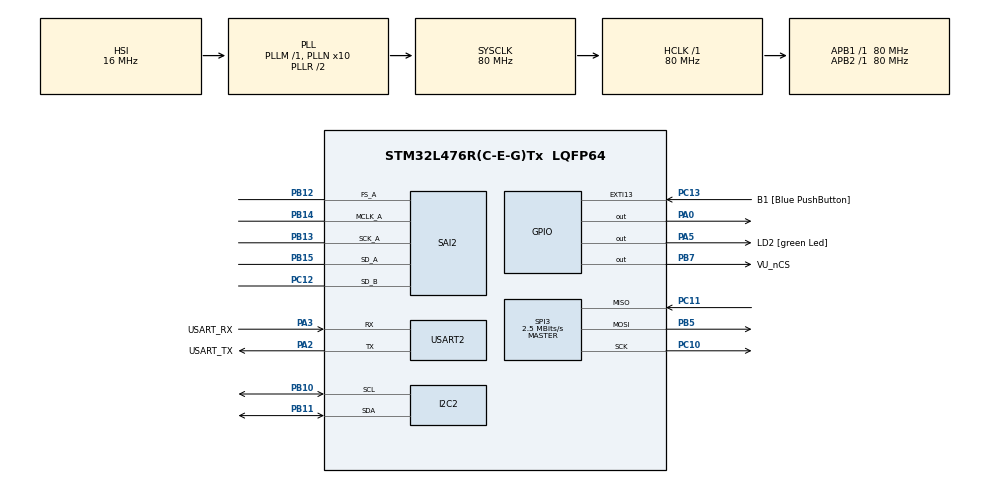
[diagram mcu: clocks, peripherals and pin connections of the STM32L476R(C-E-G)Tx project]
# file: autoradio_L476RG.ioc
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Dma.Request0=SAI2_A
Dma.Request1=SAI2_B
Dma.SAI2_A.0.Direction=DMA_MEMORY_TO_PERIPH
Dma.SAI2_A.0.Instance=DMA1_Channel6
Dma.SAI2_A.0.MemDataAlignment=DMA_MDATAALIGN_HALFWORD
Dma.SAI2_A.0.MemInc=DMA_MINC_ENABLE
Dma.SAI2_A.0.Mode=DMA_CIRCULAR
Dma.SAI2_A.0.PeriphDataAlignment=DMA_PDATAALIGN_HALFWORD
Dma.SAI2_A.0.PeriphInc=DMA_PINC_DISABLE
Dma.SAI2_A.0.Priority=DMA_PRIORITY_LOW
Dma.SAI2_B.1.Direction=DMA_PERIPH_TO_MEMORY
Dma.SAI2_B.1.Instance=DMA1_Channel7
Dma.SAI2_B.1.MemDataAlignment=DMA_MDATAALIGN_HALFWORD
Dma.SAI2_B.1.MemInc=DMA_MINC_ENABLE
Dma.SAI2_B.1.Mode=DMA_CIRCULAR
Dma.SAI2_B.1.PeriphDataAlignment=DMA_PDATAALIGN_HALFWORD
Dma.SAI2_B.1.PeriphInc=DMA_PINC_DISABLE
Dma.SAI2_B.1.Priority=DMA_PRIORITY_LOW
FREERTOS.Tasks01=defaultTask,0,128,StartDefaultTask,Default,NULL,Dynamic,NULL,NULL
FREERTOS.configUSE_NEWLIB_REENTRANT=1
I2C2.Timing=0x10D19CE4
Mcu.Family=STM32L4
Mcu.Name=STM32L476R(C-E-G)Tx
Mcu.Package=LQFP64
NVIC.DMA1_Channel6_IRQn=true\:5\:0\:false\:false\:true\:true\:false\:true\:true
NVIC.DMA1_Channel7_IRQn=true\:5\:0\:false\:false\:true\:true\:false\:true\:true
NVIC.I2C2_EV_IRQn=true\:5\:0\:false\:false\:true\:true\:true\:true\:true
NVIC.PriorityGroup=NVIC_PRIORITYGROUP_4
NVIC.SAI2_IRQn=true\:5\:0\:false\:false\:true\:true\:true\:true\:true
NVIC.USART2_IRQn=true\:5\:0\:false\:false\:true\:true\:true\:true\:true
PA0.Signal=GPIO_Output
PA13\ (JTMS-SWDIO).GPIO_Label=TMS
PA13\ (JTMS-SWDIO).Mode=Serial_Wire
PA13\ (JTMS-SWDIO).Signal=SYS_JTMS-SWDIO
PA14\ (JTCK-SWCLK).GPIO_Label=TCK
PA14\ (JTCK-SWCLK).Mode=Serial_Wire
PA14\ (JTCK-SWCLK).Signal=SYS_JTCK-SWCLK
PA2.GPIO_Label=USART_TX
PA2.GPIO_Mode=GPIO_MODE_AF_PP
PA2.GPIO_PuPd=GPIO_NOPULL
PA2.GPIO_Speed=GPIO_SPEED_FREQ_VERY_HIGH
PA2.Mode=Asynchronous
PA2.Signal=USART2_TX
PA3.GPIO_Label=USART_RX
PA3.GPIO_Mode=GPIO_MODE_AF_PP
PA3.GPIO_PuPd=GPIO_NOPULL
PA3.GPIO_Speed=GPIO_SPEED_FREQ_VERY_HIGH
PA3.Mode=Asynchronous
PA3.Signal=USART2_RX
PA5.GPIO_Label=LD2 [green Led]
PA5.GPIO_ModeDefaultOutputPP=GPIO_MODE_OUTPUT_PP
PA5.GPIO_PuPd=GPIO_NOPULL
PA5.GPIO_Speed=GPIO_SPEED_FREQ_LOW
PA5.Signal=GPIO_Output
PB10.Mode=I2C
PB10.Signal=I2C2_SCL
PB11.Mode=I2C
PB11.Signal=I2C2_SDA
PB12.Mode=SAI_A_MasterWithClock
PB12.Signal=SAI2_FS_A
PB13.Mode=SAI_A_MasterWithClock
PB13.Signal=SAI2_SCK_A
PB14.Mode=SAI_A_MasterWithClock
PB14.Signal=SAI2_MCLK_A
PB15.Mode=SAI_A_MasterWithClock
PB15.Signal=SAI2_SD_A
PB3\ (JTDO-TRACESWO).GPIO_Label=SWO
PB3\ (JTDO-TRACESWO).Signal=SYS_JTDO-SWO
PB5.Mode=Full_Duplex_Master
PB5.Signal=SPI3_MOSI
PB7.GPIO_Label=VU_nCS
PB7.Signal=GPIO_Output
PC10.Mode=Full_Duplex_Master
PC10.Signal=SPI3_SCK
PC11.Mode=Full_Duplex_Master
PC11.Signal=SPI3_MISO
PC12.Mode=SAI_B_SyncSlave
PC12.Signal=SAI2_SD_B
PC13.GPIO_Label=B1 [Blue PushButton]
PC13.GPIO_ModeDefaultEXTI=GPIO_MODE_IT_FALLING
PC13.GPIO_PuPd=GPIO_NOPULL
PC13.Signal=GPXTI13
PC14-OSC32_IN\ (PC14).Mode=LSE-External-Oscillator
PC14-OSC32_IN\ (PC14).Signal=RCC_OSC32_IN
PC15-OSC32_OUT\ (PC15).Mode=LSE-External-Oscillator
PC15-OSC32_OUT\ (PC15).Signal=RCC_OSC32_OUT
PH0-OSC_IN\ (PH0).Signal=RCC_OSC_IN
PH1-OSC_OUT\ (PH1).Signal=RCC_OSC_OUT
ProjectManager.HeapSize=0x200
ProjectManager.StackSize=0x400
ProjectManager.TargetToolchain=STM32CubeIDE
RCC.ADCFreq_Value=104000000
RCC.AHBFreq_Value=80000000
RCC.APB1Freq_Value=80000000
RCC.APB1TimFreq_Value=80000000
RCC.APB2Freq_Value=80000000
RCC.APB2TimFreq_Value=80000000
RCC.CortexFreq_Value=80000000
RCC.HCLKFreq_Value=80000000
RCC.HSE_VALUE=8000000
RCC.HSI_VALUE=16000000
RCC.MSI_VALUE=4000000
RCC.PLLN=10
RCC.PLLSAI1N=13
RCC.PLLSAI1P=RCC_PLLP_DIV17
RCC.PLLSourceVirtual=RCC_PLLSOURCE_HSI
RCC.PREFETCH_ENABLE=1
RCC.SYSCLKFreq_VALUE=80000000
RCC.SYSCLKSource=RCC_SYSCLKSOURCE_PLLCLK
RCC.USBFreq_Value=104000000
RCC.VCOOutputFreq_Value=160000000
SAI2.AudioFrequency-SAI_A_MasterWithClock=SAI_AUDIO_FREQUENCY_48K
SAI2.ErrorAudioFreq-SAI_A_MasterWithClock=-0.42 %
SAI2.InitProtocol-SAI_A_MasterWithClock=Enable
SAI2.InitProtocol-SAI_B_SyncSlave=Enable
SAI2.Instance-SAI_A_MasterWithClock=SAI$Index_Block_A
SAI2.Instance-SAI_B_SyncSlave=SAI$Index_Block_B
SAI2.MClockEnable-SAI_A_MasterWithClock=SAI_MASTERCLOCK_ENABLE
SAI2.RealAudioFreq-SAI_A_MasterWithClock=47.794 KHz
SAI2.VirtualMode-SAI_A_MasterWithClock=VM_MASTER
SAI2.VirtualMode-SAI_B_SyncSlave=VM_SLAVE
SAI2.VirtualProtocol-SAI_A_BASIC=VM_BASIC_PROTOCOL
SAI2.VirtualProtocol-SAI_B_BASIC=VM_BASIC_PROTOCOL
SPI3.BaudRatePrescaler=SPI_BAUDRATEPRESCALER_32
SPI3.CalculateBaudRate=2.5 MBits/s
SPI3.DataSize=SPI_DATASIZE_8BIT
SPI3.Direction=SPI_DIRECTION_2LINES
SPI3.Mode=SPI_MODE_MASTER
SPI3.VirtualType=VM_MASTER
USART2.VirtualMode-Asynchronous=VM_ASYNC
VP_FREERTOS_VS_CMSIS_V1.Mode=CMSIS_V1
VP_SAI2_VP_$IpInstance_SAIA_SAI_BASIC.Mode=SAI_A_BASIC
VP_SAI2_VP_$IpInstance_SAIB_SAI_BASIC.Mode=SAI_B_BASIC
board=NUCLEO-L476RG

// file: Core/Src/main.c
/* USER CODE BEGIN Header */
/**
 ******************************************************************************
 * @file           : main.c
 * @brief          : Main program body
 ******************************************************************************
 * @attention
 *
 * Copyright (c) 2025 STMicroelectronics.
 * All rights reserved.
 *
 * This software is licensed under terms that can be found in the LICENSE file
 * in the root directory of this software component.
 * If no LICENSE file comes with this software, it is provided AS-IS.
 *
 ******************************************************************************
 */
/* USER CODE END Header */
#include "main.h"
#include "cmsis_os.h"
#include "dma.h"
#include "i2c.h"
#include "sai.h"
#include "spi.h"
#include "usart.h"
#include "gpio.h"

/* USER CODE BEGIN Includes */
#include <stdio.h>
#include <stdlib.h>
#include "shell.h"
#include "led.h"
#include <string.h>
#include "chip_id.h"
#include "sgtl5000.h"
#include "RCFilter.h"
/* USER CODE END Includes */

/* USER CODE BEGIN PD */
#define QUEUE_LENGTH 5
#define QUEUE_ITEM_SIZE sizeof(uint32_t)
#define MAX_LEDS 16  // 8 LEDs sur port A + 8 LEDs sur port B
/* USER CODE END PD */

/* USER CODE BEGIN PV */
QueueHandle_t counterQueue;

#define AUDIO_BUFFER_SIZE 2048
uint8_t tx_buffer[AUDIO_BUFFER_SIZE]; // Buffer d'émission (vers DAC/Codec)
uint8_t rx_buffer[AUDIO_BUFFER_SIZE]; // Buffer de réception (depuis ADC/Micro)

#define DELAY_BUF_SIZE 20000
int16_t delay_buffer[DELAY_BUF_SIZE];
uint32_t delay_index=0;
h_RC_filter_t my_audio_filter;
/* USER CODE END PV */

void SystemClock_Config(void);
void PeriphCommonClock_Config(void);
void MX_FREERTOS_Init(void);
/* USER CODE BEGIN PFP */
static int fonction(h_shell_t *shell, int argc, char **argv);
static int addition(h_shell_t *shell, int argc, char **argv);
static int led_control(h_shell_t *shell, int argc, char **argv);
static int filtre_RC(h_shell_t *shell, int argc, char **argv);
void task_shell(void *unused);
/* USER CODE END PFP */

/* USER CODE BEGIN 0 */
int __io_putchar(int chr)
{
	HAL_UART_Transmit(&huart2, (uint8_t*)&chr, 1, HAL_MAX_DELAY);
	return chr;
}

static int fonction(h_shell_t *shell, int argc, char **argv)
{
	int size;
	size = snprintf(shell->print_buffer, BUFFER_SIZE, "Je suis une fonction bidon\r\n");
	shell_uart_write(shell->print_buffer, size);
	size = snprintf(shell->print_buffer, BUFFER_SIZE, "argc=%d\r\n", argc);
	shell_uart_write(shell->print_buffer, size);
	for (int i = 0; i < argc; i++)
	{
		size = snprintf(shell->print_buffer, BUFFER_SIZE, "argv[%d]=%s\r\n", i, argv[i]);
		shell_uart_write(shell->print_buffer, size);
	}
	return 0;
}

static int addition(h_shell_t *shell, int argc, char **argv)
{
	int sum = 0;
	for (int i = 1; i < argc; i++)
	{
		sum += atoi(argv[i]); // atoi conversion chaine de caractère en entier
	}
	int size = snprintf(shell->print_buffer, BUFFER_SIZE, "sum=%d\r\n", sum);
	shell_uart_write(shell->print_buffer, size);
	return 0;
}

static int filtre_RC(h_shell_t *shell, int argc, char **argv){
	if (argc < 2) {
		int size = snprintf(shell->print_buffer, BUFFER_SIZE, "Usage: c <freq_coupure>\r\n");
		shell_uart_write(shell->print_buffer, size);
		return -1;
	}

	int fc = atoi(argv[1]);

	RC_filter_init(&my_audio_filter, (uint16_t)fc, 48000);

	int size = snprintf(shell->print_buffer, BUFFER_SIZE, "Filtre mis a jour: Fc = %d Hz\r\n", fc);
	shell_uart_write(shell->print_buffer, size);
	return 0;
}
void task_shell(void *unused)
{
	static h_shell_t shell_instance; // Instance statique de la structure

	shell_init(&shell_instance);
	shell_add(&shell_instance, 'f', fonction, "Une fonction inutile");
	shell_add(&shell_instance, 'a', addition, "Ma super addition");
	shell_add(&shell_instance, 'l', led_control, "LED control: l <id> <0|1>");
	shell_add(&shell_instance, 'c', filtre_RC, "filtre_RC");

	shell_run(&shell_instance); // Contient une boucle infinie

	// Ne sera jamais atteint, mais pour la forme
	vTaskDelete(NULL);
}

void HAL_UART_RxCpltCallback(UART_HandleTypeDef *huart)
{
	if (huart == &huart2)
	{
		shell_uart_rx_callback();
	}
}

static int led_control(h_shell_t *shell, int argc, char **argv)
{
	int numero;
	int size;
	numero = atoi(argv[1]);
	if (argc==3)
	{
		if (numero > 8)
		{
			Select_LED('B', 16-numero,atoi(argv[2]));
		}
		else
		{
			int state = atoi(argv[2]);
			Select_LED('A', numero,atoi(argv[2]));
		}
		size = snprintf(shell->print_buffer,BUFFER_SIZE,"c'est fait chef");
	}
	else if (argc==4)
	{
		numero = atoi(argv[1]) * 10 + atoi(argv[2]);
		Select_LED('B', 16-numero,atoi(argv[3]));
		size = snprintf(shell->print_buffer,BUFFER_SIZE,"c'est fait chef");
	}
	else
	{
		size = snprintf(shell->print_buffer,BUFFER_SIZE,"Il y a pas assez de led");
	}
	drv_uart1_transmit(shell->print_buffer,size);
	return 0;
}

void Generate_Triangle_Wave(uint8_t *buffer, uint32_t sizeInBytes) {
	int16_t *pSample = (int16_t *)buffer;

	// 16 bits = 2 octets. Stereo = 2 canaux.
	// Donc 1 "Frame" audio (Gauche + Droite) = 4 octets.
	uint32_t totalFrames = sizeInBytes / 4;

	// On divise le buffer en deux phases : Montée et Descente
	uint32_t halfPeriod = totalFrames / 2;

	int16_t amplitude = 15000;
	float step = (float)(amplitude * 2) / (float)halfPeriod;
	float currentVal = -15000.0f;

	// Phase 1 : Montée
	for (uint32_t i = 0; i < halfPeriod; i++) {
		int16_t val = (int16_t)currentVal;

		pSample[i * 2]     = val; // Canal Gauche
		pSample[i * 2 + 1] = val; // Canal Droit (identique pour du mono centré)

		currentVal += step;
	}

	// Phase 2 : Descente
	currentVal = 15000.0f;
	for (uint32_t i = halfPeriod; i < totalFrames; i++) {
		int16_t val = (int16_t)currentVal;

		pSample[i * 2]     = val;
		pSample[i * 2 + 1] = val;

		currentVal -= step;
	}
}

/* USER CODE END 0 */

int main(void)
{

	/* MCU Configuration--------------------------------------------------------*/

	/* Reset of all peripherals, Initializes the Flash interface and the Systick. */
	HAL_Init();

	/* Configure the system clock */
	SystemClock_Config();

	/* Configure the peripherals common clocks */
	PeriphCommonClock_Config();

	/* Initialize all configured peripherals */
	MX_GPIO_Init();
	MX_DMA_Init();
	MX_USART2_UART_Init();
	MX_SPI3_Init();
	MX_I2C2_Init();
	MX_SAI2_Init();
	/* USER CODE BEGIN 2 */
	MCP23S17_Init();
	MCP23S17_SetAllPinsHigh();

	__HAL_SAI_ENABLE(&hsai_BlockA2); // pour horloge pour codec

	printf("Bonjour Antonio y Louis\r\n");

	Lire_CHIP_ID(); // le printf est dans la fonction

	// --- AJOUT : Initialisation du filtre par défaut ---
	// Fréquence de coupure 5kHz, Echantillonnage 48kHz
	RC_filter_init(&my_audio_filter, 5000, 48000);

	//Generate_Triangle_Wave(tx_buffer, AUDIO_BUFFER_SIZE);

	if (HAL_SAI_Transmit_DMA(&hsai_BlockA2, tx_buffer, AUDIO_BUFFER_SIZE/ 2) != HAL_OK)
	{
		printf("Erreur demarrage SAI TX DMA\r\n");
		Error_Handler();
	}

	if (HAL_SAI_Receive_DMA(&hsai_BlockB2, rx_buffer, AUDIO_BUFFER_SIZE/ 2) != HAL_OK)
	{
		printf("Erreur demarrage SAI RX DMA\r\n");
		Error_Handler();
	}

	// Création de la queue
	counterQueue = xQueueCreate(QUEUE_LENGTH, QUEUE_ITEM_SIZE);
	if (counterQueue == NULL) {
		Error_Handler();
	}

	// Création de la tâche shell
	if (xTaskCreate(task_shell, "Shell", 512, NULL, 1, NULL) != pdPASS)
	{
		printf("Error creating task Shell\r\n");
		Error_Handler();
	}

	/* USER CODE END 2 */

	/* Call init function for freertos objects (in cmsis_os2.c) */
	MX_FREERTOS_Init();

	/* Start scheduler */
	osKernelStart();

	/* We should never get here as control is now taken by the scheduler */

	/* Infinite loop */
	while (1)
	{

	}
}

void SystemClock_Config(void)
{
	RCC_OscInitTypeDef RCC_OscInitStruct = {0};
	RCC_ClkInitTypeDef RCC_ClkInitStruct = {0};

	/** Configure the main internal regulator output voltage
	 */
	if (HAL_PWREx_ControlVoltageScaling(PWR_REGULATOR_VOLTAGE_SCALE1) != HAL_OK)
	{
		Error_Handler();
	}

	/** Initializes the RCC Oscillators according to the specified parameters
	 * in the RCC_OscInitTypeDef structure.
	 */
	RCC_OscInitStruct.OscillatorType = RCC_OSCILLATORTYPE_HSI;
	RCC_OscInitStruct.HSIState = RCC_HSI_ON;
	RCC_OscInitStruct.HSICalibrationValue = RCC_HSICALIBRATION_DEFAULT;
	RCC_OscInitStruct.PLL.PLLState = RCC_PLL_ON;
	RCC_OscInitStruct.PLL.PLLSource = RCC_PLLSOURCE_HSI;
	RCC_OscInitStruct.PLL.PLLM = 1;
	RCC_OscInitStruct.PLL.PLLN = 10;
	RCC_OscInitStruct.PLL.PLLP = RCC_PLLP_DIV7;
	RCC_OscInitStruct.PLL.PLLQ = RCC_PLLQ_DIV2;
	RCC_OscInitStruct.PLL.PLLR = RCC_PLLR_DIV2;
	if (HAL_RCC_OscConfig(&RCC_OscInitStruct) != HAL_OK)
	{
		Error_Handler();
	}

	/** Initializes the CPU, AHB and APB buses clocks
	 */
	RCC_ClkInitStruct.ClockType = RCC_CLOCKTYPE_HCLK|RCC_CLOCKTYPE_SYSCLK
			|RCC_CLOCKTYPE_PCLK1|RCC_CLOCKTYPE_PCLK2;
	RCC_ClkInitStruct.SYSCLKSource = RCC_SYSCLKSOURCE_PLLCLK;
	RCC_ClkInitStruct.AHBCLKDivider = RCC_SYSCLK_DIV1;
	RCC_ClkInitStruct.APB1CLKDivider = RCC_HCLK_DIV1;
	RCC_ClkInitStruct.APB2CLKDivider = RCC_HCLK_DIV1;

	if (HAL_RCC_ClockConfig(&RCC_ClkInitStruct, FLASH_LATENCY_4) != HAL_OK)
	{
		Error_Handler();
	}
}

void PeriphCommonClock_Config(void)
{
	RCC_PeriphCLKInitTypeDef PeriphClkInit = {0};

	/** Initializes the peripherals clock
	 */
	PeriphClkInit.PeriphClockSelection = RCC_PERIPHCLK_SAI2;
	PeriphClkInit.Sai2ClockSelection = RCC_SAI2CLKSOURCE_PLLSAI1;
	PeriphClkInit.PLLSAI1.PLLSAI1Source = RCC_PLLSOURCE_HSI;
	PeriphClkInit.PLLSAI1.PLLSAI1M = 1;
	PeriphClkInit.PLLSAI1.PLLSAI1N = 13;
	PeriphClkInit.PLLSAI1.PLLSAI1P = RCC_PLLP_DIV17;
	PeriphClkInit.PLLSAI1.PLLSAI1Q = RCC_PLLQ_DIV2;
	PeriphClkInit.PLLSAI1.PLLSAI1R = RCC_PLLR_DIV2;
	PeriphClkInit.PLLSAI1.PLLSAI1ClockOut = RCC_PLLSAI1_SAI1CLK;
	if (HAL_RCCEx_PeriphCLKConfig(&PeriphClkInit) != HAL_OK)
	{
		Error_Handler();
	}
}

/* USER CODE BEGIN 4 */

// Process sans effet audio
//void Process_Audio_Buffer(uint8_t *src, uint8_t *dst, uint32_t len_in_bytes)
//{
//    uint16_t *pSrc = (uint16_t*)src;
//    uint16_t *pDst = (uint16_t*)dst;
//
//    uint32_t num_samples = len_in_bytes / 2;
//
//    for (uint32_t i = 0; i < num_samples; i++)
//    {
//        pDst[i] = RC_filter_update(&my_audio_filter, pSrc[i]);
//
//    }
//}
void Process_Audio_Buffer(uint8_t *src, uint8_t *dst, uint32_t len_in_bytes)
{
	uint16_t *pSrc = (uint16_t*)src;
	uint16_t *pDst = (uint16_t*)dst;

	uint32_t num_samples = len_in_bytes / 2;

	for (uint32_t i = 0; i < num_samples; i++)
	{

		int16_t input_sample=pSrc[i];

		// 1. Lire l'échantillon qui a été stocké il y a longtemps (l'écho)
		int16_t delayed_sample = delay_buffer[delay_index];

		// 2. Calculer la sortie : Son actuel + (Echo * volume)
		// On divise par 2 l'écho pour qu'il soit moins fort (decay)
		int16_t output_sample = input_sample + (delayed_sample / 2);

		// 3. Ecrire le son actuel dans la mémoire pour le futur
		delay_buffer[delay_index] = input_sample;

		// 4. Avancer l'index et boucler si on arrive au bout (Buffer Circulaire)
		delay_index++;
		if (delay_index >= DELAY_BUF_SIZE) {
			delay_index = 0;
		}

		// 5. Envoyer vers le DAC
		pDst[i] = output_sample;
	}
}

void HAL_SAI_RxHalfCpltCallback(SAI_HandleTypeDef *hsai)
{
	if (hsai->Instance == SAI2_Block_B)
	{
		Process_Audio_Buffer(rx_buffer, tx_buffer, AUDIO_BUFFER_SIZE / 2);
	}
}

void HAL_SAI_RxCpltCallback(SAI_HandleTypeDef *hsai)
{
	if (hsai->Instance == SAI2_Block_B)
	{
		Process_Audio_Buffer(&rx_buffer[AUDIO_BUFFER_SIZE / 2],
				&tx_buffer[AUDIO_BUFFER_SIZE / 2],
				AUDIO_BUFFER_SIZE / 2);
	}
}
/* USER CODE END 4 */

void Error_Handler(void)
{
	__disable_irq();
	while (1)
	{
	}
}
